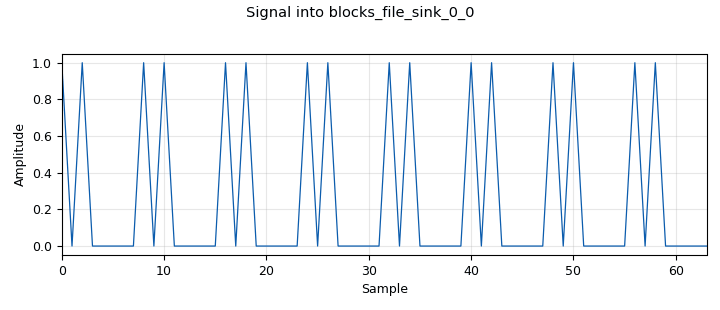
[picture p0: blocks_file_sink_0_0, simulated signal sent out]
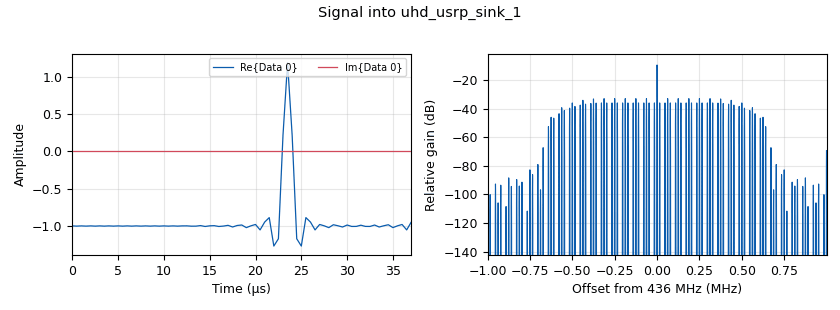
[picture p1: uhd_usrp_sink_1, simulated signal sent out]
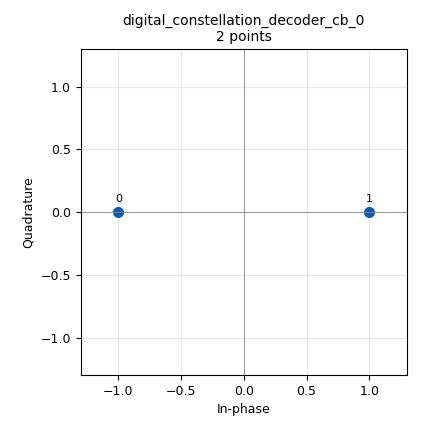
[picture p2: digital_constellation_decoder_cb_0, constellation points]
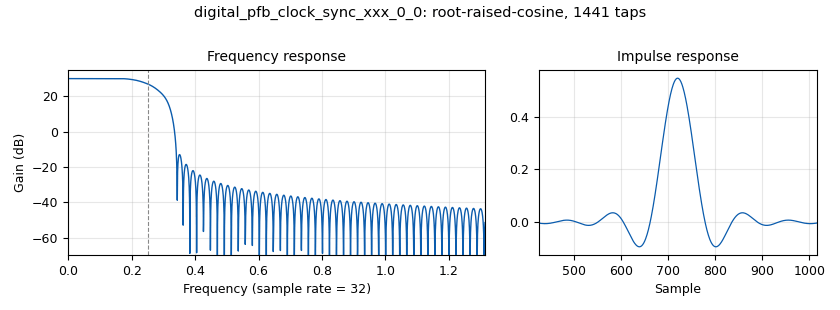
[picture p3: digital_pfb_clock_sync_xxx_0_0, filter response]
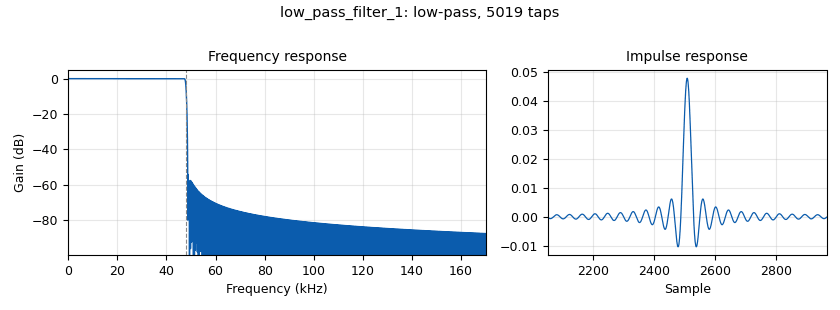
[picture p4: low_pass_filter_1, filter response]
options:
  parameters:
    category: Custom
    generate_options: qt_gui
    id: bpsk_stage6
    output_language: python
    title: bpsk_stage6
  states: {}

blocks:
- name: LPF_cutoff
  id: variable
  parameters:
    value: bit_rate / 2
  states: {}
- name: arity
  id: variable
  parameters:
    value: '2'
  states: {}
- name: bit_rate
  id: variable
  parameters:
    value: '9600'
  states: {state: disabled}
- name: bit_rate
  id: variable
  parameters:
    value: 1e6
  states: {}
- name: bpsk
  id: variable_constellation
  parameters:
    precision: '8'
    type: bpsk
  states: {}
- name: bw
  id: variable
  parameters:
    value: 15e3
  states: {}
- name: delay
  id: variable_qtgui_range
  parameters:
    label: Delay
    start: '0'
    step: '1'
    stop: '200'
    value: '29'
  states: {}
- name: excess_bw
  id: variable
  parameters:
    value: '0.35'
  states: {}
- name: freq
  id: variable
  parameters:
    value: 436e6
  states: {}
- name: freq_offset
  id: variable
  parameters:
    value: '0'
  states: {}
- name: nfilts
  id: variable
  parameters:
    value: '32'
  states: {}
- name: noise_volt
  id: variable
  parameters:
    value: '0.05'
  states: {}
- name: phase_bw
  id: variable
  parameters:
    value: '0.0628'
  states: {}
- name: rrc_taps
  id: variable
  parameters:
    value: firdes.root_raised_cosine(nfilts, nfilts, 1.0/float(sps), 0.35, 45*nfilts)
  states: {}
- name: samp_rate
  id: variable
  parameters:
    value: 2e6
  states: {}
- name: samp_rate
  id: variable
  parameters:
    value: 48e3*3
  states: {state: disabled}
- name: sps
  id: variable
  parameters:
    value: int(samp_rate / bit_rate)
  states: {}
- name: taps
  id: variable
  parameters:
    value: '[1.0 + 0.0j, ]'
  states: {}
- name: time_offset
  id: variable
  parameters:
    value: '1.0'
  states: {}
- name: timing_loop_bw
  id: variable
  parameters:
    value: '0.0628'
  states: {}
- name: analog_random_source_x_0
  id: analog_random_source_x
  parameters:
    max: '255'
    min: '0'
    num_samps: '10000'
    repeat: 'True'
    type: byte
  states: {state: disabled}
- name: blocks_char_to_float_0
  id: blocks_char_to_float
  parameters:
    scale: '1'
  states: {state: disabled}
- name: blocks_char_to_float_0_0
  id: blocks_char_to_float
  parameters:
    scale: '1'
  states: {}
- name: blocks_char_to_float_0_0_0
  id: blocks_char_to_float
  parameters:
    scale: '1'
  states: {}
- name: blocks_char_to_float_0_1
  id: blocks_char_to_float
  parameters:
    scale: '1'
  states: {state: disabled}
- name: blocks_complex_to_float_0
  id: blocks_complex_to_float
  parameters: {}
  states: {}
- name: blocks_delay_0
  id: blocks_delay
  parameters:
    delay: int(delay)
    type: float
  states: {}
- name: blocks_file_sink_0
  id: blocks_file_sink
  parameters:
    file: /home/hsl/Documents/tx_debug_march
    type: float
  states: {state: disabled}
- name: blocks_file_sink_0_0
  id: blocks_file_sink
  parameters:
    file: /home/hsl/Documents/tx_debug_march
    type: byte
  states: {}
- name: blocks_file_sink_0_0_0
  id: blocks_file_sink
  parameters:
    file: /home/hsl/Documents/rx_debug_march
    type: byte
  states: {}
- name: blocks_file_sink_1
  id: blocks_file_sink
  parameters:
    file: /home/hsl/Documents/tx_debug_march (copy)
    type: float
  states: {state: disabled}
- name: blocks_file_source_0
  id: blocks_file_source
  parameters:
    file: /home/hsl/Documents/rx_debug_march
    repeat: 'True'
    type: byte
  states: {state: disabled}
- name: blocks_message_debug_0
  id: blocks_message_debug
  parameters: {}
  states: {state: disabled}
- name: blocks_multiply_const_vxx_0
  id: blocks_multiply_const_vxx
  parameters:
    const: '-1'
    type: float
  states: {state: disabled}
- name: blocks_pack_k_bits_bb_0
  id: blocks_pack_k_bits_bb
  parameters:
    k: '8'
  states: {state: disabled}
- name: blocks_pack_k_bits_bb_1
  id: blocks_pack_k_bits_bb
  parameters:
    k: '8'
  states: {}
- name: blocks_stream_to_tagged_stream_0
  id: blocks_stream_to_tagged_stream
  parameters:
    len_tag_key: '"packet_len"'
    packet_len: '8'
    type: byte
  states: {state: disabled}
- name: blocks_sub_xx_0
  id: blocks_sub_xx
  parameters:
    type: float
  states: {}
- name: blocks_throttle_0
  id: blocks_throttle
  parameters:
    samples_per_second: samp_rate
    type: complex
  states: {state: bypassed}
- name: blocks_throttle_1
  id: blocks_throttle
  parameters:
    samples_per_second: samp_rate
    type: byte
  states: {state: disabled}
- name: blocks_unpack_k_bits_bb_0_0
  id: blocks_unpack_k_bits_bb
  parameters:
    k: '8'
  states: {}
- name: blocks_vector_source_x_0
  id: blocks_vector_source_x
  parameters:
    repeat: 'True'
    type: byte
    vector: (1, 0, 1, 0, 0, 0, 0, 0)
  states: {}
- name: digital_binary_slicer_fb_0
  id: digital_binary_slicer_fb
  parameters: {}
  states: {}
- name: digital_chunks_to_symbols_xx_0_0
  id: digital_chunks_to_symbols_xx
  parameters:
    dimension: '1'
    in_type: byte
    out_type: complex
    symbol_table: '[-1,1]'
  states: {state: disabled}
- name: digital_constellation_decoder_cb_0
  id: digital_constellation_decoder_cb
  parameters:
    constellation: bpsk
  states: {}
- name: digital_constellation_modulator_0_0
  id: digital_constellation_modulator
  parameters:
    constellation: bpsk
    differential: 'False'
    excess_bw: excess_bw
    samples_per_symbol: sps
  states: {}
- name: digital_costas_loop_cc_0
  id: digital_costas_loop_cc
  parameters:
    order: arity
    w: phase_bw
  states: {}
- name: digital_diff_decoder_bb_0
  id: digital_diff_decoder_bb
  parameters:
    coding: digital.DIFF_DIFFERENTIAL
    modulus: '2'
  states: {}
- name: digital_pfb_clock_sync_xxx_0
  id: digital_pfb_clock_sync_xxx
  parameters:
    filter_size: nfilts
    init_phase: nfilts/2
    loop_bw: timing_loop_bw
    max_dev: '1.5'
    osps: '1'
    sps: sps
    taps: rrc_taps
    type: ccf
  states: {state: disabled}
- name: digital_pfb_clock_sync_xxx_0_0
  id: digital_pfb_clock_sync_xxx
  parameters:
    filter_size: nfilts
    init_phase: nfilts/2
    loop_bw: timing_loop_bw
    max_dev: '1.5'
    osps: '1'
    sps: sps
    taps: rrc_taps
    type: ccf
  states: {}
- name: digital_symbol_sync_xx_0_0_0
  id: digital_symbol_sync_xx
  parameters:
    damping: '1.0'
    loop_bw: '0.01'
    max_dev: '0.01'
    nfilters: nfilts
    osps: '1'
    pfb_mf_taps: rrc_taps
    resamp_type: digital.IR_MMSE_8TAP
    sps: sps
    ted_gain: '1.0'
    ted_type: digital.TED_SIGNAL_TIMES_SLOPE_ML
    type: cc
  states: {state: disabled}
- name: fec_decode_ccsds_27_fb_0
  id: fec_decode_ccsds_27_fb
  parameters: {}
  states: {state: disabled}
- name: fec_decode_ccsds_27_fb_0_0
  id: fec_decode_ccsds_27_fb
  parameters: {}
  states: {state: disabled}
- name: fec_encode_ccsds_27_bb_0
  id: fec_encode_ccsds_27_bb
  parameters: {}
  states: {state: bypassed}
- name: low_pass_filter_0
  id: low_pass_filter
  parameters:
    decim: '1'
    gain: '1'
    samp_rate: samp_rate
    type: fir_filter_ccf
    win: window.WIN_HAMMING
  states: {state: disabled}
- name: low_pass_filter_1
  id: low_pass_filter
  parameters:
    cutoff_freq: 48e3
    decim: '1'
    gain: '1'
    samp_rate: samp_rate
    type: fir_filter_ccf
    width: '960'
    win: window.WIN_HAMMING
  states: {}
- name: pdu_tagged_stream_to_pdu_0
  id: pdu_tagged_stream_to_pdu
  parameters:
    tag: packet_len
    type: byte
  states: {state: disabled}
- name: qtgui_const_sink_x_0
  id: qtgui_const_sink_x
  parameters:
    size: '1024'
    type: complex
  states: {state: disabled}
- name: qtgui_sink_x_0
  id: qtgui_sink_x
  parameters:
    bw: samp_rate
    fc: '0'
    fftsize: '1024'
    gui_hint: 2,0,1,1
    name: '"Rx_GUI"'
    plotfreq: 'False'
    type: complex
    wintype: window.WIN_BLACKMAN
  states: {state: disabled}
- name: qtgui_sink_x_1
  id: qtgui_sink_x
  parameters:
    bw: samp_rate
    fc: 48e3
    fftsize: '1024'
    gui_hint: 0,0,2,1
    name: '"Tx_GUI"'
    plotfreq: 'False'
    type: complex
  states: {state: disabled}
- name: qtgui_sink_x_1_0
  id: qtgui_sink_x
  parameters:
    bw: samp_rate
    fc: 48e3
    fftsize: '1024'
    gui_hint: 0,1,2,1
    name: '"Sym_GUI"'
    type: complex
  states: {}
- name: qtgui_sink_x_2
  id: qtgui_sink_x
  parameters:
    bw: samp_rate
    fc: '0'
    fftsize: '1024'
    gui_hint: 2,1,2,1
    type: complex
  states: {}
- name: qtgui_time_sink_x_0_0
  id: qtgui_time_sink_x
  parameters:
    ctrlpanel: 'True'
    gui_hint: 2,0,2,1
    label1: Rx Bits
    label2: Diff
    label3: Tx Bits
    name: ''
    nconnections: '3'
    size: '512'
    srate: samp_rate
    tr_mode: qtgui.TRIG_MODE_AUTO
    type: float
    ymax: '2'
    ymin: '-2'
  states: {}
- name: qtgui_time_sink_x_0_0_0
  id: qtgui_time_sink_x
  parameters:
    ctrlpanel: 'True'
    gui_hint: 0,0,2,1
    label1: '+'
    label2: '-'
    name: ''
    nconnections: '2'
    size: '512'
    srate: samp_rate
    tr_mode: qtgui.TRIG_MODE_AUTO
    type: float
    ymax: '2'
    ymin: '-2'
  states: {state: disabled}
- name: satellites_rms_agc_0_0
  id: satellites_rms_agc
  parameters:
    alpha: '1e-2'
    reference: '1.0'
  states: {}
- name: soapy_limesdr_source_1
  id: soapy_limesdr_source
  parameters:
    bandwidth: bw
    center_freq: freq
    gain: '30'
    samp_rate: samp_rate
    type: fc32
  states: {}
- name: uhd_usrp_sink_1
  id: uhd_usrp_sink
  parameters:
    ant0: '"TX/RX"'
    bw0: bw
    center_freq0: freq
    gain0: '40'
    samp_rate: samp_rate
    sync: sync
    type: fc32
  states: {}
- name: virtual_sink_0
  id: virtual_sink
  parameters:
    stream_id: '"clock_sync"'
  states: {}
- name: virtual_sink_1
  id: virtual_sink
  parameters:
    stream_id: '"xmt_sig"'
  states: {}
- name: virtual_source_0
  id: virtual_source
  parameters:
    stream_id: '"clock_sync"'
  states: {state: disabled}
- name: virtual_source_1
  id: virtual_source
  parameters:
    stream_id: '"xmt_sig"'
  states: {}

connections:
- [analog_random_source_x_0, '0', digital_chunks_to_symbols_xx_0_0, '0']
- [analog_random_source_x_0, '0', digital_constellation_modulator_0_0, '0']
- [analog_random_source_x_0, '0', virtual_sink_1, '0']
- [blocks_char_to_float_0, '0', blocks_file_sink_0, '0']
- [blocks_char_to_float_0, '0', qtgui_time_sink_x_0_0_0, '0']
- [blocks_char_to_float_0_0, '0', blocks_sub_xx_0, '0']
- [blocks_char_to_float_0_0, '0', qtgui_time_sink_x_0_0, '0']
- [blocks_char_to_float_0_0_0, '0', blocks_delay_0, '0']
- [blocks_char_to_float_0_1, '0', blocks_file_sink_1, '0']
- [blocks_char_to_float_0_1, '0', qtgui_time_sink_x_0_0_0, '1']
- [blocks_complex_to_float_0, '0', blocks_multiply_const_vxx_0, '0']
- [blocks_complex_to_float_0, '0', digital_binary_slicer_fb_0, '0']
- [blocks_complex_to_float_0, '0', fec_decode_ccsds_27_fb_0_0, '0']
- [blocks_delay_0, '0', blocks_sub_xx_0, '1']
- [blocks_delay_0, '0', qtgui_time_sink_x_0_0, '2']
- [blocks_file_source_0, '0', fec_encode_ccsds_27_bb_0, '0']
- [blocks_file_source_0, '0', virtual_sink_1, '0']
- [blocks_multiply_const_vxx_0, '0', fec_decode_ccsds_27_fb_0, '0']
- [blocks_pack_k_bits_bb_0, '0', blocks_file_sink_0_0, '0']
- [blocks_pack_k_bits_bb_1, '0', blocks_file_sink_0_0_0, '0']
- [blocks_stream_to_tagged_stream_0, '0', pdu_tagged_stream_to_pdu_0, '0']
- [blocks_sub_xx_0, '0', qtgui_time_sink_x_0_0, '1']
- [blocks_throttle_0, '0', qtgui_sink_x_1, '0']
- [blocks_throttle_0, '0', uhd_usrp_sink_1, '0']
- [blocks_throttle_0, '0', virtual_sink_0, '0']
- [blocks_throttle_1, '0', blocks_stream_to_tagged_stream_0, '0']
- [blocks_unpack_k_bits_bb_0_0, '0', blocks_char_to_float_0_0_0, '0']
- [blocks_vector_source_x_0, '0', fec_encode_ccsds_27_bb_0, '0']
- [blocks_vector_source_x_0, '0', virtual_sink_1, '0']
- [digital_binary_slicer_fb_0, '0', blocks_char_to_float_0_0, '0']
- [digital_binary_slicer_fb_0, '0', blocks_pack_k_bits_bb_0, '0']
- [digital_binary_slicer_fb_0, '0', blocks_throttle_1, '0']
- [digital_chunks_to_symbols_xx_0_0, '0', qtgui_sink_x_1, '0']
- [digital_chunks_to_symbols_xx_0_0, '0', virtual_sink_0, '0']
- [digital_constellation_decoder_cb_0, '0', digital_diff_decoder_bb_0, '0']
- [digital_constellation_modulator_0_0, '0', blocks_throttle_0, '0']
- [digital_costas_loop_cc_0, '0', blocks_complex_to_float_0, '0']
- [digital_costas_loop_cc_0, '0', digital_constellation_decoder_cb_0, '0']
- [digital_costas_loop_cc_0, '0', qtgui_const_sink_x_0, '0']
- [digital_costas_loop_cc_0, '0', qtgui_sink_x_1_0, '0']
- [digital_diff_decoder_bb_0, '0', blocks_pack_k_bits_bb_1, '0']
- [digital_pfb_clock_sync_xxx_0, '0', qtgui_sink_x_1, '0']
- [digital_pfb_clock_sync_xxx_0, '0', virtual_sink_0, '0']
- [digital_pfb_clock_sync_xxx_0_0, '0', digital_costas_loop_cc_0, '0']
- [digital_symbol_sync_xx_0_0_0, '0', digital_costas_loop_cc_0, '0']
- [fec_decode_ccsds_27_fb_0, '0', blocks_char_to_float_0_1, '0']
- [fec_decode_ccsds_27_fb_0_0, '0', blocks_char_to_float_0, '0']
- [fec_encode_ccsds_27_bb_0, '0', digital_constellation_modulator_0_0, '0']
- [low_pass_filter_0, '0', digital_pfb_clock_sync_xxx_0, '0']
- [low_pass_filter_1, '0', satellites_rms_agc_0_0, '0']
- [pdu_tagged_stream_to_pdu_0, pdus, blocks_message_debug_0, print]
- [satellites_rms_agc_0_0, '0', digital_pfb_clock_sync_xxx_0_0, '0']
- [satellites_rms_agc_0_0, '0', digital_symbol_sync_xx_0_0_0, '0']
- [satellites_rms_agc_0_0, '0', low_pass_filter_0, '0']
- [soapy_limesdr_source_1, '0', low_pass_filter_1, '0']
- [soapy_limesdr_source_1, '0', qtgui_sink_x_2, '0']
- [virtual_source_0, '0', low_pass_filter_1, '0']
- [virtual_source_0, '0', qtgui_sink_x_2, '0']
- [virtual_source_1, '0', blocks_file_sink_0_0, '0']
- [virtual_source_1, '0', blocks_unpack_k_bits_bb_0_0, '0']

metadata:
  file_format: 1
